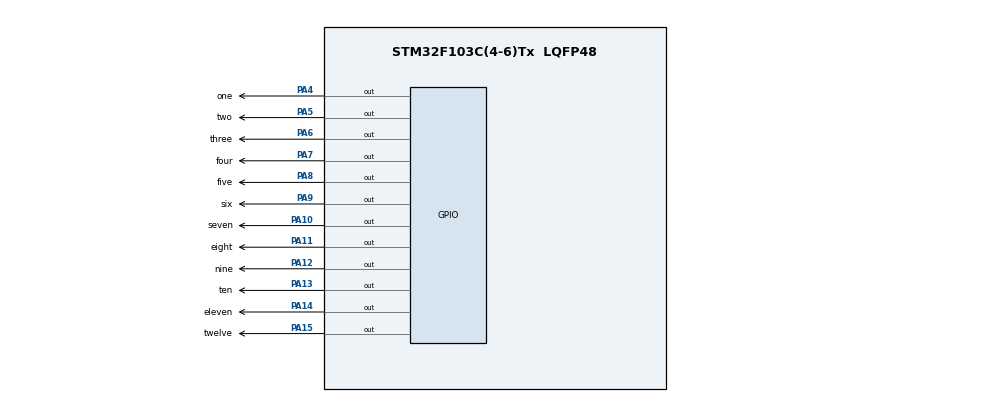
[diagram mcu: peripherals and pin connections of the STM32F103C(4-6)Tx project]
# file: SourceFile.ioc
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Mcu.Family=STM32F1
Mcu.Name=STM32F103C(4-6)Tx
Mcu.Package=LQFP48
NVIC.PriorityGroup=NVIC_PRIORITYGROUP_4
NVIC.TIM2_IRQn=true\:0\:0\:false\:false\:true\:true\:true
PA10.GPIO_Label=seven
PA10.Signal=GPIO_Output
PA11.GPIO_Label=eight
PA11.Signal=GPIO_Output
PA12.GPIO_Label=nine
PA12.Signal=GPIO_Output
PA13.GPIO_Label=ten
PA13.Signal=GPIO_Output
PA14.GPIO_Label=eleven
PA14.Signal=GPIO_Output
PA15.GPIO_Label=twelve
PA15.Signal=GPIO_Output
PA4.GPIO_Label=one
PA4.Signal=GPIO_Output
PA5.GPIO_Label=two
PA5.Signal=GPIO_Output
PA6.GPIO_Label=three
PA6.Signal=GPIO_Output
PA7.GPIO_Label=four
PA7.Signal=GPIO_Output
PA8.GPIO_Label=five
PA8.Signal=GPIO_Output
PA9.GPIO_Label=six
PA9.Signal=GPIO_Output
ProjectManager.HeapSize=0x200
ProjectManager.StackSize=0x400
ProjectManager.TargetToolchain=STM32CubeIDE
RCC.APB1Freq_Value=8000000
RCC.APB2Freq_Value=8000000
TIM2.Period=9
TIM2.Prescaler=7999
VP_SYS_VS_ND.Mode=No_Debug
VP_TIM2_VS_ClockSourceINT.Mode=Internal
board=custom

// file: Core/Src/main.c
/* USER CODE BEGIN Header */
/**
  ******************************************************************************
  * @file           : main.c
  * @brief          : Main program body
  ******************************************************************************
  * @attention
  *
  * <h2><center>&copy; Copyright (c) 2023 STMicroelectronics.
  * All rights reserved.</center></h2>
  *
  * This software component is licensed by ST under BSD 3-Clause license,
  * the "License"; You may not use this file except in compliance with the
  * License. You may obtain a copy of the License at:
  *                        opensource.org/licenses/BSD-3-Clause
  *
  ******************************************************************************
  */
/* USER CODE END Header */
#include "main.h"

/* USER CODE BEGIN Includes */
#include "software_timer.h"
#include "LedCount.h"
#include "clearAllClock.h"
#include "setNumberOnClock.h"
#include "clearNumberOnClock.h"
/* USER CODE END Includes */

TIM_HandleTypeDef htim2;

void SystemClock_Config(void);
static void MX_GPIO_Init(void);
static void MX_TIM2_Init(void);

int main(void)
{

  /* MCU Configuration--------------------------------------------------------*/

  /* Reset of all peripherals, Initializes the Flash interface and the Systick. */
  HAL_Init();

  /* Configure the system clock */
  SystemClock_Config();

  /* Initialize all configured peripherals */
  MX_GPIO_Init();
  MX_TIM2_Init();
  /* USER CODE BEGIN 2 */
  HAL_TIM_Base_Start_IT(&htim2);
  /* USER CODE END 2 */

  /* Infinite loop */
  /* USER CODE BEGIN WHILE */
  int hr =0,min = 0, sec=0;
  while (1)
  {
	  clearAllClock();
	  setNumberOnClock(hr);
	  setNumberOnClock(min/5);
	  setNumberOnClock(sec/5);
	  sec++;
	  if(sec == 60){
		  sec=0;
		  min++;
	  }
	  if(min == 60){
		  min =0;
		  hr++;
	  }
	  if(hr ==12){
		  hr =0;
	  }
	  HAL_Delay(10);
  /* USER CODE END WHILE */
  }
}

void SystemClock_Config(void)
{
  RCC_OscInitTypeDef RCC_OscInitStruct = {0};
  RCC_ClkInitTypeDef RCC_ClkInitStruct = {0};

  /** Initializes the RCC Oscillators according to the specified parameters
  * in the RCC_OscInitTypeDef structure.
  */
  RCC_OscInitStruct.OscillatorType = RCC_OSCILLATORTYPE_HSI;
  RCC_OscInitStruct.HSIState = RCC_HSI_ON;
  RCC_OscInitStruct.HSICalibrationValue = RCC_HSICALIBRATION_DEFAULT;
  RCC_OscInitStruct.PLL.PLLState = RCC_PLL_NONE;
  if (HAL_RCC_OscConfig(&RCC_OscInitStruct) != HAL_OK)
  {
    Error_Handler();
  }
  /** Initializes the CPU, AHB and APB buses clocks
  */
  RCC_ClkInitStruct.ClockType = RCC_CLOCKTYPE_HCLK|RCC_CLOCKTYPE_SYSCLK
                              |RCC_CLOCKTYPE_PCLK1|RCC_CLOCKTYPE_PCLK2;
  RCC_ClkInitStruct.SYSCLKSource = RCC_SYSCLKSOURCE_HSI;
  RCC_ClkInitStruct.AHBCLKDivider = RCC_SYSCLK_DIV1;
  RCC_ClkInitStruct.APB1CLKDivider = RCC_HCLK_DIV1;
  RCC_ClkInitStruct.APB2CLKDivider = RCC_HCLK_DIV1;

  if (HAL_RCC_ClockConfig(&RCC_ClkInitStruct, FLASH_LATENCY_0) != HAL_OK)
  {
    Error_Handler();
  }
}

static void MX_TIM2_Init(void)
{

  TIM_ClockConfigTypeDef sClockSourceConfig = {0};
  TIM_MasterConfigTypeDef sMasterConfig = {0};

  htim2.Instance = TIM2;
  htim2.Init.Prescaler = 7999;
  htim2.Init.CounterMode = TIM_COUNTERMODE_UP;
  htim2.Init.Period = 9;
  htim2.Init.ClockDivision = TIM_CLOCKDIVISION_DIV1;
  htim2.Init.AutoReloadPreload = TIM_AUTORELOAD_PRELOAD_DISABLE;
  if (HAL_TIM_Base_Init(&htim2) != HAL_OK)
  {
    Error_Handler();
  }
  sClockSourceConfig.ClockSource = TIM_CLOCKSOURCE_INTERNAL;
  if (HAL_TIM_ConfigClockSource(&htim2, &sClockSourceConfig) != HAL_OK)
  {
    Error_Handler();
  }
  sMasterConfig.MasterOutputTrigger = TIM_TRGO_RESET;
  sMasterConfig.MasterSlaveMode = TIM_MASTERSLAVEMODE_DISABLE;
  if (HAL_TIMEx_MasterConfigSynchronization(&htim2, &sMasterConfig) != HAL_OK)
  {
    Error_Handler();
  }

}

static void MX_GPIO_Init(void)
{
  GPIO_InitTypeDef GPIO_InitStruct = {0};

  /* GPIO Ports Clock Enable */
  __HAL_RCC_GPIOA_CLK_ENABLE();

  /*Configure GPIO pin Output Level */
  HAL_GPIO_WritePin(GPIOA, one_Pin|two_Pin|three_Pin|four_Pin
                          |five_Pin|six_Pin|seven_Pin|eight_Pin
                          |nine_Pin|ten_Pin|eleven_Pin|twelve_Pin, GPIO_PIN_RESET);

  /*Configure GPIO pins : one_Pin two_Pin three_Pin four_Pin
                           five_Pin six_Pin seven_Pin eight_Pin
                           nine_Pin ten_Pin eleven_Pin twelve_Pin */
  GPIO_InitStruct.Pin = one_Pin|two_Pin|three_Pin|four_Pin
                          |five_Pin|six_Pin|seven_Pin|eight_Pin
                          |nine_Pin|ten_Pin|eleven_Pin|twelve_Pin;
  GPIO_InitStruct.Mode = GPIO_MODE_OUTPUT_PP;
  GPIO_InitStruct.Pull = GPIO_NOPULL;
  GPIO_InitStruct.Speed = GPIO_SPEED_FREQ_LOW;
  HAL_GPIO_Init(GPIOA, &GPIO_InitStruct);

}

/* USER CODE BEGIN 4 */
int counter =100;
void HAL_TIM_PeriodElapsedCallback(TIM_HandleTypeDef *htim){
	timerRun();
}
/* USER CODE END 4 */

void Error_Handler(void)
{
  __disable_irq();
  while (1)
  {
  }
}

/************************ (C) COPYRIGHT STMicroelectronics *****END OF FILE****/
